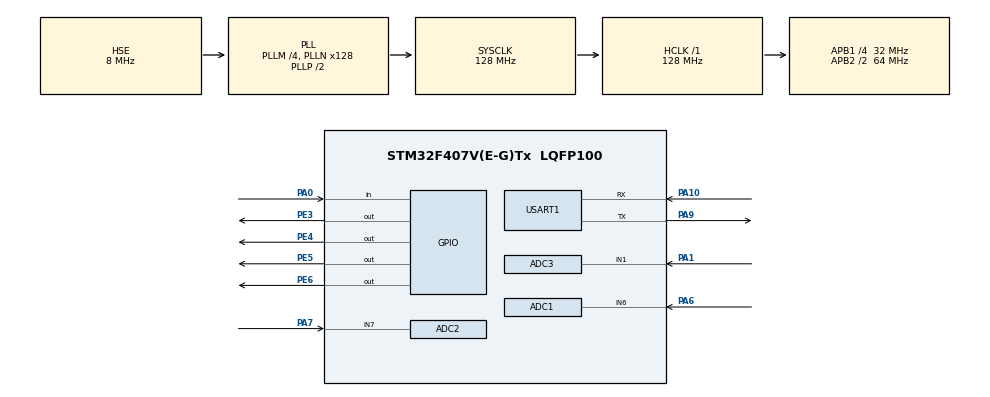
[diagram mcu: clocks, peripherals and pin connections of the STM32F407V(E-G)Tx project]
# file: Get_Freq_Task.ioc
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ADC1.Channel-9\#ChannelRegularConversion=ADC_CHANNEL_6
ADC1.ClockPrescaler=ADC_CLOCK_SYNC_PCLK_DIV4
ADC1.DMAContinuousRequests=ENABLE
ADC1.ExternalTrigConv=ADC_EXTERNALTRIGCONV_T3_TRGO
ADC1.NbrOfConversionFlag=1
ADC1.Rank-9\#ChannelRegularConversion=1
ADC1.SamplingTime-9\#ChannelRegularConversion=ADC_SAMPLETIME_3CYCLES
ADC1.master=1
ADC2.Channel-0\#ChannelRegularConversion=ADC_CHANNEL_7
ADC2.ClockPrescaler=ADC_CLOCK_SYNC_PCLK_DIV4
ADC2.DMAContinuousRequests=ENABLE
ADC2.ExternalTrigConv=ADC_EXTERNALTRIGCONV_T3_TRGO
ADC2.NbrOfConversionFlag=1
ADC2.Rank-0\#ChannelRegularConversion=1
ADC2.SamplingTime-0\#ChannelRegularConversion=ADC_SAMPLETIME_3CYCLES
ADC3.Channel-4\#ChannelRegularConversion=ADC_CHANNEL_1
ADC3.ClockPrescaler=ADC_CLOCK_SYNC_PCLK_DIV4
ADC3.DMAContinuousRequests=ENABLE
ADC3.ExternalTrigConv=ADC_EXTERNALTRIGCONV_T3_TRGO
ADC3.NbrOfConversionFlag=1
ADC3.Rank-4\#ChannelRegularConversion=1
ADC3.SamplingTime-4\#ChannelRegularConversion=ADC_SAMPLETIME_3CYCLES
Dma.ADC1.2.Direction=DMA_PERIPH_TO_MEMORY
Dma.ADC1.2.FIFOMode=DMA_FIFOMODE_DISABLE
Dma.ADC1.2.Instance=DMA2_Stream0
Dma.ADC1.2.MemDataAlignment=DMA_MDATAALIGN_HALFWORD
Dma.ADC1.2.MemInc=DMA_MINC_ENABLE
Dma.ADC1.2.Mode=DMA_NORMAL
Dma.ADC1.2.PeriphDataAlignment=DMA_PDATAALIGN_HALFWORD
Dma.ADC1.2.PeriphInc=DMA_PINC_DISABLE
Dma.ADC1.2.Priority=DMA_PRIORITY_LOW
Dma.ADC2.0.Direction=DMA_PERIPH_TO_MEMORY
Dma.ADC2.0.FIFOMode=DMA_FIFOMODE_DISABLE
Dma.ADC2.0.Instance=DMA2_Stream2
Dma.ADC2.0.MemDataAlignment=DMA_MDATAALIGN_HALFWORD
Dma.ADC2.0.MemInc=DMA_MINC_ENABLE
Dma.ADC2.0.Mode=DMA_NORMAL
Dma.ADC2.0.PeriphDataAlignment=DMA_PDATAALIGN_HALFWORD
Dma.ADC2.0.PeriphInc=DMA_PINC_DISABLE
Dma.ADC2.0.Priority=DMA_PRIORITY_LOW
Dma.ADC3.1.Direction=DMA_PERIPH_TO_MEMORY
Dma.ADC3.1.FIFOMode=DMA_FIFOMODE_DISABLE
Dma.ADC3.1.Instance=DMA2_Stream1
Dma.ADC3.1.MemDataAlignment=DMA_MDATAALIGN_HALFWORD
Dma.ADC3.1.MemInc=DMA_MINC_ENABLE
Dma.ADC3.1.Mode=DMA_NORMAL
Dma.ADC3.1.PeriphDataAlignment=DMA_PDATAALIGN_HALFWORD
Dma.ADC3.1.PeriphInc=DMA_PINC_DISABLE
Dma.ADC3.1.Priority=DMA_PRIORITY_LOW
Dma.Request0=ADC2
Dma.Request1=ADC3
Dma.Request2=ADC1
Dma.Request3=USART1_RX
Dma.USART1_RX.3.Direction=DMA_PERIPH_TO_MEMORY
Dma.USART1_RX.3.FIFOMode=DMA_FIFOMODE_DISABLE
Dma.USART1_RX.3.Instance=DMA2_Stream5
Dma.USART1_RX.3.MemDataAlignment=DMA_MDATAALIGN_BYTE
Dma.USART1_RX.3.MemInc=DMA_MINC_ENABLE
Dma.USART1_RX.3.Mode=DMA_CIRCULAR
Dma.USART1_RX.3.PeriphDataAlignment=DMA_PDATAALIGN_BYTE
Dma.USART1_RX.3.PeriphInc=DMA_PINC_DISABLE
Dma.USART1_RX.3.Priority=DMA_PRIORITY_LOW
Mcu.Family=STM32F4
Mcu.Name=STM32F407V(E-G)Tx
Mcu.Package=LQFP100
NVIC.DMA2_Stream0_IRQn=true\:0\:0\:false\:false\:true\:false\:true\:true
NVIC.DMA2_Stream1_IRQn=true\:0\:0\:false\:false\:true\:false\:true\:true
NVIC.DMA2_Stream2_IRQn=true\:0\:0\:false\:false\:true\:false\:true\:true
NVIC.DMA2_Stream5_IRQn=true\:0\:0\:false\:false\:true\:false\:true\:true
NVIC.PriorityGroup=NVIC_PRIORITYGROUP_4
NVIC.USART1_IRQn=true\:0\:0\:false\:false\:true\:true\:true\:true
PA0-WKUP.Signal=GPIO_Input
PA1.Signal=ADCx_IN1
PA10.Mode=Asynchronous
PA10.Signal=USART1_RX
PA6.Signal=ADCx_IN6
PA7.Signal=ADCx_IN7
PA9.Mode=Asynchronous
PA9.Signal=USART1_TX
PE3.GPIO_PuPd=GPIO_PULLUP
PE3.GPIO_Speed=GPIO_SPEED_FREQ_MEDIUM
PE3.Signal=GPIO_Output
PE4.GPIO_PuPd=GPIO_PULLUP
PE4.GPIO_Speed=GPIO_SPEED_FREQ_MEDIUM
PE4.Signal=GPIO_Output
PE5.GPIO_PuPd=GPIO_PULLUP
PE5.GPIO_Speed=GPIO_SPEED_FREQ_MEDIUM
PE5.Signal=GPIO_Output
PE6.GPIO_PuPd=GPIO_PULLUP
PE6.GPIO_Speed=GPIO_SPEED_FREQ_MEDIUM
PE6.Signal=GPIO_Output
PH0-OSC_IN.Mode=HSE-External-Oscillator
PH0-OSC_IN.Signal=RCC_OSC_IN
PH1-OSC_OUT.Mode=HSE-External-Oscillator
PH1-OSC_OUT.Signal=RCC_OSC_OUT
ProjectManager.HeapSize=0x200
ProjectManager.StackSize=0x400
ProjectManager.TargetToolchain=MDK-ARM V5.32
RCC.48MHZClocksFreq_Value=64000000
RCC.AHBFreq_Value=128000000
RCC.APB1CLKDivider=RCC_HCLK_DIV4
RCC.APB1Freq_Value=32000000
RCC.APB1TimFreq_Value=64000000
RCC.APB2CLKDivider=RCC_HCLK_DIV2
RCC.APB2Freq_Value=64000000
RCC.APB2TimFreq_Value=128000000
RCC.CortexFreq_Value=128000000
RCC.HCLKFreq_Value=128000000
RCC.HSE_VALUE=8000000
RCC.HSI_VALUE=16000000
RCC.LSE_VALUE=32768
RCC.PLLM=4
RCC.PLLN=128
RCC.PLLSourceVirtual=RCC_PLLSOURCE_HSE
RCC.SYSCLKFreq_VALUE=128000000
RCC.SYSCLKSource=RCC_SYSCLKSOURCE_PLLCLK
RCC.VCOOutputFreq_Value=256000000
SH.ADCx_IN1.0=ADC3_IN1,IN1
SH.ADCx_IN6.0=ADC1_IN6,IN6
SH.ADCx_IN7.0=ADC2_IN7,IN7
TIM3.Period=125-1
TIM3.Prescaler=1-1
TIM3.TIM_MasterOutputTrigger=TIM_TRGO_UPDATE
USART1.VirtualMode=VM_ASYNC
VP_TIM3_VS_ClockSourceINT.Mode=Internal
board=custom

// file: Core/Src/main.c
/* USER CODE BEGIN Header */
/**
  ******************************************************************************
  * @file           : main.c
  * @brief          : Main program body
  ******************************************************************************
  * @attention
  *
  * Copyright (c) 2025 STMicroelectronics.
  * All rights reserved.
  *
  * This software is licensed under terms that can be found in the LICENSE file
  * in the root directory of this software component.
  * If no LICENSE file comes with this software, it is provided AS-IS.
  *
  ******************************************************************************
  */
/* USER CODE END Header */
#include "main.h"
#include "adc.h"
#include "dma.h"
#include "tim.h"
#include "usart.h"
#include "gpio.h"

/* USER CODE BEGIN Includes */
#include "stdio.h"
//FFT计算所需头文件
#include "arm_math.h"
#include "arm_const_structs.h"
#include "ad9833.h"
/* USER CODE END Includes */

/* USER CODE BEGIN PTD */
#define M_PI 3.1415926
/* USER CODE END PTD */

void SystemClock_Config(void);

/* USER CODE BEGIN 0 */

#define FFT_LENGTH		512 		//FFT长度，默认是1024点FFT

uint16_t adc_buffer1[FFT_LENGTH];
uint16_t adc_buffer2[FFT_LENGTH];
uint16_t adc_buffer3[FFT_LENGTH];
float inputfft_1[FFT_LENGTH*2],inputfft_2[FFT_LENGTH*2],inputfft_3[FFT_LENGTH*2]; //傅里叶计算前的值（实部ad值，虚部为0）
float outputfft_1[FFT_LENGTH],outputfft_2[FFT_LENGTH],outputfft_3[FFT_LENGTH];    //傅里叶计算后的值
double fft_phase_out1[FFT_LENGTH],fft_phase_out2[FFT_LENGTH],fft_phase_out3[FFT_LENGTH];
float Fmax;                          //最大值
float Fmax2;                         //次最大值

//默认分离出来的最大频率信号是A信号
//ADC1采集的信号进行FFT，俩个最大幅值对应对索引计算出频率值

unsigned int Amax_pos;									//最大值位置
unsigned int Bmax_pos;								  //次最大值位置

//DDS输出信号A的反馈
unsigned int Feedbackfreq_Amax_pos;									//最大值位置
//DDS输出信号B的反馈
unsigned int Feedbackfreq_Bmax_pos;									//最大值位置
float phaA_err;

float phaseA;          // 相位 (度)
float FeedbackPhase_A; // 相位 (度)
float phaseA_err;       // 相位差 (度)
float phaseB;          // 相位 (度)
float FeedbackPhase_B; // 相位 (度)
float phaseB_err;      // 相位差 (度)
float freq_A;      // 频率 (Hz)
float Feedbackfreq_A;      // 反馈信号A频率 (Hz)
float phase_A;     // 相位 (度)
float freq_B;      // 频率 (Hz)
float Feedbackfreq_B;      // 反馈信号A频率 (Hz)
int Phase=0;

unsigned char flag=0;
uint8_t adc_dma_finish;//所有adc转换完成标志位
float CH1_Phase = 0;
float CH2_Phase = 180;	// 范围0~360

// PID控制器结构体
typedef struct {
    float Kp, Ki, Kd;     // PID参数
    float last_error;      // 上一次误差
    float prev_error;      // 上上次误差
    float max_output;      // 最大输出限制
} SimplePID;

// 相位锁定控制器
typedef struct {
    SimplePID pid;         // PID控制器
    float target_phase;    // 目标相位差(通常为0)
    float current_freq;    // 当前频率
    float min_step;        // 最小调整步长
} PhaseLocker;

// 初始化PID控制器
void PID_Init(SimplePID* pid, float Kp, float Ki, float Kd, float max_out) {
    pid->Kp = Kp;
    pid->Ki = Ki;
    pid->Kd = Kd;
    pid->last_error = 0;
    pid->prev_error = 0;
    pid->max_output = max_out;
}

// 计算PID输出
float PID_Calculate(SimplePID* pid, float error) {
    float output = pid->Kp * (error - pid->last_error)
                 + pid->Ki * error
                 + pid->Kd * (error - 2*pid->last_error + pid->prev_error);

    // 更新误差记录
    pid->prev_error = pid->last_error;
    pid->last_error = error;

    // 限制输出范围
    if(output > pid->max_output) output = pid->max_output;
    else if(output < -pid->max_output) output = -pid->max_output;

    return output;
}

// 初始化相位锁定器
void PhaseLock_Init(PhaseLocker* locker, float Kp, float Ki, float Kd,
                   float target_phase, float min_step, float max_adjust) {
    PID_Init(&locker->pid, Kp, Ki, Kd, max_adjust);
    locker->target_phase = target_phase;
    locker->min_step = min_step;
    locker->current_freq = 0;
}

// 计算标准化相位差 (-180°到180°)
float NormalizePhase(float phase)
{

    return phase;
}

// 相位锁定处理
void PhaseLock_Process(PhaseLocker* locker, float measured_phase, float current_freq,int ch,uint16_t waveform) {
    // 计算标准化相位差
    float phase_diff = NormalizePhase(measured_phase - locker->target_phase);

    // 计算频率调整量
    float adjust = PID_Calculate(&locker->pid, phase_diff);

    // 应用最小步长
    if(fabs(adjust) < locker->min_step) {
        adjust = (adjust > 0) ? locker->min_step : -locker->min_step;
    }

    // 更新频率
    locker->current_freq = current_freq + adjust;

		if(ch==AD9833_CH1)
		{
       // 设置新频率 (AD9833频率寄存器值 = 频率 * 10.73742)
       AD9833_Set_Frequency(AD9833_CH1, waveform,
                        (uint32_t)(locker->current_freq * 10.73742));
		}
		else if(ch==AD9833_CH2)
		{
		   // 设置新频率 (AD9833频率寄存器值 = 频率 * 10.73742)
      AD9833_Set_Frequency(AD9833_CH2, waveform,
      (uint32_t)(locker->current_freq * 10.73742));
		}
}
void HAL_ADC_ConvCpltCallback(ADC_HandleTypeDef *hadc)//ad转换完成
{
	  static uint8_t count = 0;

    if (hadc->Instance == ADC1) {
        count++;
    } else if (hadc->Instance == ADC2) {
        count++;
    } else if (hadc->Instance == ADC3) {
        count++;
    }
    if (count == 3) {
			  HAL_TIM_Base_Stop(&htim3);
        count = 0;
				adc_dma_finish = 1;  // 通知主循环处理数据

    }//由于要在明显的看到3个信号的区别，所以等3个ad一起转换完成后再一起计算且打印出串口
}

//实时改变采样率函数
void TIM_Config_Sampling(uint32_t signal_freq, uint16_t samples_per_cycle) {
    uint32_t f_timer = 64000000;  // 64 MHz
    uint32_t total_divider = f_timer / (samples_per_cycle * signal_freq);

    // 优先最小PSC，最大化ARR（提高精度）
    uint16_t psc = 0;  // 默认不分频
    uint32_t arr = total_divider - 1;

    // 如果ARR超过32位限制（实际不可能，因为total_divider最大=64M/1=64M，ARR=64M-1）
    if (arr > 0xFFFFFFFF) {
        // 需要增加PSC（分频）
        psc = (uint16_t)(sqrt(total_divider)) - 1;
        arr = (total_divider / (psc + 1)) - 1;
    }

    // 配置定时器
		htim3.Instance->PSC=psc;
    htim3.Instance->ARR = arr;
    HAL_TIM_Base_Start(&htim3);
}
//计算FFT结果每个分量的相位角
void compute_fft_phase(float *fft_output, uint32_t fft_size, double *phase_out) {
    for (uint32_t k = 0; k < fft_size; k++)
	  {
        float32_t real = fft_output[2*k];     // 实部（CMSIS-DSP中交替存储实/虚部）
        float32_t imag = fft_output[2*k+1];   // 虚部

        // 计算相位（弧度）
        phase_out[k] = (double)atan2f(imag, real);

        // 可选：转换为角度
         phase_out[k] *= 180.0f / M_PI;
    }
}
PhaseLocker lockerA;
PhaseLocker lockerB;
uint32_t peak1_idx;
uint32_t peak2_idx;
uint32_t length=FFT_LENGTH;

// 输入: fft_outputbuf（幅度谱数组）, length（数组长度，如4096）
// 输出: peak1_idx（第一个峰值的索引）, peak2_idx（第二个峰值的索引）
void find_peak_indices(float* magnitude, uint32_t length, uint32_t* peak1_idx, uint32_t* peak2_idx) {
    *peak1_idx = 0;
    *peak2_idx = 0;
    float peak1_val = 0;
    float peak2_val = 0;

    // 只检查前一半频点（实数信号对称性）
    for (uint32_t i = 1; i < length/2 - 1; i++) {
        // 检测局部峰值（避免噪声和直流分量）
        if (magnitude[i] > magnitude[i-1] && magnitude[i] > magnitude[i+1]) {
            if (magnitude[i] > peak1_val) {
                // 更新峰值2为旧的峰值1
                peak2_val = peak1_val;
                *peak2_idx = *peak1_idx;
                // 更新峰值1
                peak1_val = magnitude[i];
                *peak1_idx = i;
            } else if (magnitude[i] > peak2_val) {
                // 更新峰值2
                peak2_val = magnitude[i];
                *peak2_idx = i;
            }
        }
    }
}
uint16_t waveform_A;
uint16_t waveform_B;
uint8_t uartdata[50];
/* USER CODE END 0 */

int main(void)
{

  /* MCU Configuration--------------------------------------------------------*/

  /* Reset of all peripherals, Initializes the Flash interface and the Systick. */
  HAL_Init();

  /* Configure the system clock */
  SystemClock_Config();

  /* Initialize all configured peripherals */
  MX_GPIO_Init();
  MX_DMA_Init();
  MX_USART1_UART_Init();
  MX_ADC1_Init();
  MX_TIM3_Init();
  MX_ADC2_Init();
  MX_ADC3_Init();
  /* USER CODE BEGIN 2 */
	//开启定时器
	AD9833_Init();
  HAL_TIM_Base_Start(&htim3);
	//开始进行ad转换
  HAL_ADC_Start_DMA(&hadc1,(uint32_t *)adc_buffer1,FFT_LENGTH);
	HAL_ADC_Start_DMA(&hadc2,(uint32_t *)adc_buffer2,FFT_LENGTH);
	HAL_ADC_Start_DMA(&hadc3,(uint32_t *)adc_buffer3,FFT_LENGTH);

  PhaseLock_Init(&lockerA, 0.05f, 0.1f, 0.1f,  0.0f,   -0.8f,    0.8f);//如果要更改 A信号和分离出来A信号的相位偏移，可改下面初始化函数的“偏移相位”
	//             pid结构体   Kp     Ki    Kd   偏移相位 最小步进   最大调整值
	PhaseLock_Init(&lockerB, 0.05f, 0.1f, 0.1f, 0.0f, -0.8f, 0.8f);
	HAL_Delay(100);
  /* USER CODE END 2 */
  /* Infinite loop */
  /* USER CODE BEGIN WHILE */
  while (1)
  {

		if(adc_dma_finish)//判断完成标志位
		{
		  adc_dma_finish=0;//标志位清0
			for(int i=0;i<FFT_LENGTH;i++)
		  {
				inputfft_1[i*2]=(double)adc_buffer1[i]*3.3/4095;
				inputfft_1[i*2+1]=0;
				inputfft_2[i*2]=(double)adc_buffer2[i]*3.3/4095;
				inputfft_2[i*2+1]=0;
				inputfft_3[i*2]=(double)adc_buffer3[i]*3.3/4095;
				inputfft_3[i*2+1]=0;
		  }
			 //对3路adc采集的数据都进行FFT计算
			 //合成信号A+B
		 	 arm_cfft_f32(&arm_cfft_sR_f32_len512,inputfft_1,0,1);
		   arm_cmplx_mag_f32(inputfft_1,outputfft_1,FFT_LENGTH);    //把运算结果复数求模得幅值
			 //回馈信号A`
			 arm_cfft_f32(&arm_cfft_sR_f32_len512,inputfft_2,0,1);
			 arm_cmplx_mag_f32(inputfft_2,outputfft_2,FFT_LENGTH);    //把运算结果复数求模得幅值
			 //回馈信号B`
			 arm_cfft_f32(&arm_cfft_sR_f32_len512,inputfft_3,0,1);
			 arm_cmplx_mag_f32(inputfft_3,outputfft_3,FFT_LENGTH);    //把运算结果复数求模得幅值
		   outputfft_1[0]=0;//去直流，防止最大值寻找错误
			 outputfft_2[0]=0;
			 outputfft_3[0]=0;
			 find_peak_indices(outputfft_1,length,&peak1_idx,&peak2_idx);

        if(outputfft_1[peak1_idx]>110)
        {
				  waveform_A=AD9833_Out_Sinus;
				}
				else if(outputfft_1[peak1_idx]<=110)
				{
				  waveform_A=AD9833_Out_Triangle;
				}
        if(outputfft_1[peak2_idx]>110)
        {
				  waveform_B=AD9833_Out_Sinus;
				}
				else if(outputfft_1[peak2_idx]<=110)
				{
				  waveform_B=AD9833_Out_Triangle;
				}
//       arm_max_f32(outputfft_1, FFT_LENGTH/2, &Fmax, &Amax_pos);//使用Length会让频率点在后半部分，导致频率计算错误，导致ARR->0
//			 outputfft_1[Amax_pos]=0;//清除最大值
//
//			 arm_max_f32(outputfft_1, FFT_LENGTH/2, &Fmax2, &Bmax_pos); //找次最大值
//			 outputfft_1[Amax_pos]=Fmax;

			 //计算出采集到的加法信号分离出来的AB信号的频率
			 freq_A = peak1_idx*(float)(512000/FFT_LENGTH);
			 freq_B = peak2_idx*(float)(512000/FFT_LENGTH);

			 //FFT计算反馈信号A的频率
			 arm_max_f32(outputfft_2, FFT_LENGTH/2, &Fmax, &Feedbackfreq_Amax_pos);     //使用Length会让频率点在后半部分，导致频率计算错误，导致ARR->0
			 Feedbackfreq_A=Feedbackfreq_Amax_pos*(float)(512000/FFT_LENGTH);

			 arm_max_f32(outputfft_3, FFT_LENGTH/2, &Fmax, &Feedbackfreq_Bmax_pos);     //使用Length会让频率点在后半部分，导致频率计算错误，导致ARR->0
			 Feedbackfreq_B=Feedbackfreq_Bmax_pos*(float)(512000/FFT_LENGTH);
			 if(Feedbackfreq_B==freq_B &&Feedbackfreq_A==freq_A  )//判断计算频率相同进入锁相
			 {
			   flag=1;
			 }
			 else
			 {
			    //DDS输出一次AB信号，方便等下反馈计算
			    AD9833_Set_Frequency(AD9833_CH1,  waveform_A,  (uint32_t)(freq_A * 10.73742));
				  AD9833_Set_Frequency(AD9833_CH2,  waveform_B,  (uint32_t)(freq_B * 10.73742));
          HAL_Delay(5);//延时等待一下
			 }

			  HAL_ADC_Start_DMA(&hadc1, (uint32_t*)adc_buffer1, FFT_LENGTH);
				HAL_ADC_Start_DMA(&hadc2, (uint32_t*)adc_buffer2, FFT_LENGTH);
			  HAL_ADC_Start_DMA(&hadc3, (uint32_t*)adc_buffer3, FFT_LENGTH);
				HAL_TIM_Base_Start(&htim3);

			  while(flag)
			 {

				 if(adc_dma_finish)//判断标志位
				 {
						adc_dma_finish=0;//标志位清0
						for(int i=0;i<FFT_LENGTH;i++)
						{
							inputfft_1[i*2]=(double)adc_buffer1[i]*3.3/4095;
							inputfft_1[i*2+1]=0;
							inputfft_2[i*2]=(double)adc_buffer2[i]*3.3/4095;
							inputfft_2[i*2+1]=0;
							inputfft_3[i*2]=(double)adc_buffer3[i]*3.3/4095;
							inputfft_3[i*2+1]=0;
						}
				    //信号A+B
					 arm_cfft_f32(&arm_cfft_sR_f32_len512,inputfft_1,0,1);
					 arm_cmplx_mag_f32(inputfft_1,outputfft_1,FFT_LENGTH);    //把运算结果复数求模得幅值
					 //回馈信号A`
					 arm_cfft_f32(&arm_cfft_sR_f32_len512,inputfft_2,0,1);
					 arm_cmplx_mag_f32(inputfft_2,outputfft_2,FFT_LENGTH);    //把运算结果复数求模得幅值
					 //回馈信号B
					 arm_cfft_f32(&arm_cfft_sR_f32_len512,inputfft_3,0,1);
					 arm_cmplx_mag_f32(inputfft_3,outputfft_3,FFT_LENGTH);    //把运算结果复数求模得幅值

					 outputfft_1[0]=0;//去直流，防止最大值寻找错误
					 outputfft_2[0]=0;
					 outputfft_3[0]=0;
           find_peak_indices(outputfft_1,length,&peak1_idx,&peak2_idx);

						if(outputfft_1[peak1_idx]>110)
						{
							  waveform_A=AD9833_Out_Sinus;
						}
						else if(outputfft_1[peak1_idx]<=110)
						{
							  waveform_A=AD9833_Out_Triangle;
						}
						if(outputfft_1[peak2_idx]>110)
						{
							  waveform_B=AD9833_Out_Sinus;
						}
						else if(outputfft_1[peak2_idx]<=110)
						{
							  waveform_B=AD9833_Out_Triangle;
						}
//					 arm_max_f32(outputfft_1, FFT_LENGTH/2, &Fmax, &Amax_pos);     //使用Length会让频率点在后半部分，导致频率计算错误，导致ARR->0
//           outputfft_1[Amax_pos]=0;
//					 arm_max_f32(outputfft_1, FFT_LENGTH/2, &Fmax2, &Bmax_pos);

					 freq_A = peak1_idx*(float)(512000/FFT_LENGTH);
					 freq_B = peak2_idx*(float)(512000/FFT_LENGTH);

					 phaseA = atan2(inputfft_1[2*peak1_idx+1],inputfft_1[2*peak1_idx])* 180 / PI;
					 phaseB = atan2(inputfft_1[2*peak2_idx+1], inputfft_1[2*peak2_idx])* 180 / PI;

					 arm_max_f32(outputfft_2, FFT_LENGTH/2, &Fmax, &Feedbackfreq_Amax_pos);     //使用Length会让频率点在后半部分，导致频率计算错误，导致ARR->0
			     Feedbackfreq_A=Feedbackfreq_Amax_pos*(float)(512000/FFT_LENGTH);
					 FeedbackPhase_A = atan2(inputfft_2[2*Feedbackfreq_Amax_pos+1],inputfft_2[2*Feedbackfreq_Amax_pos])* 180 / PI;

					 arm_max_f32(outputfft_3, FFT_LENGTH/2, &Fmax, &Feedbackfreq_Bmax_pos);     //使用Length会让频率点在后半部分，导致频率计算错误，导致ARR->0
			     Feedbackfreq_B=Feedbackfreq_Bmax_pos*(float)(512000/FFT_LENGTH);
					 FeedbackPhase_B = atan2(inputfft_3[2*Feedbackfreq_Bmax_pos+1],inputfft_3[2*Feedbackfreq_Bmax_pos])* 180 / PI;
					 phaseA_err=FeedbackPhase_A-phaseA;
					 phaseA_err=-phaseA_err;//
					 if(phaseA_err<-180)phaseA_err+=360;
					 if(phaseA_err>180)phaseA_err-=360;

					 phaseB_err=FeedbackPhase_B-phaseB;
					 phaseB_err=-phaseB_err;//
					 if(phaseB_err<-180)phaseB_err+=360;
					 if(phaseB_err>180)phaseB_err-=360;

					 //printf("%f,%f\n",phaseB_err,0);//打印调试

           //pid锁相
					 PhaseLock_Process(&lockerA,phaseA_err, freq_A,AD9833_CH1,waveform_A);
					 PhaseLock_Process(&lockerB,phaseB_err, freq_B,AD9833_CH2,waveform_B);
					  if(Feedbackfreq_A!=freq_A || Feedbackfreq_B!=freq_B)
					 {
						 flag=0;
					 }
					 HAL_ADC_Start_DMA(&hadc1, (uint32_t*)adc_buffer1, FFT_LENGTH);
				   HAL_ADC_Start_DMA(&hadc2, (uint32_t*)adc_buffer2, FFT_LENGTH);
			     HAL_ADC_Start_DMA(&hadc3, (uint32_t*)adc_buffer3, FFT_LENGTH);
				   HAL_TIM_Base_Start(&htim3);
					 HAL_Delay(1);//1ms延时

			   }

			 }
				HAL_ADC_Start_DMA(&hadc1, (uint32_t*)adc_buffer1, FFT_LENGTH);
				HAL_ADC_Start_DMA(&hadc2, (uint32_t*)adc_buffer2, FFT_LENGTH);
				HAL_ADC_Start_DMA(&hadc3, (uint32_t*)adc_buffer3, FFT_LENGTH);
				HAL_TIM_Base_Start(&htim3);

//        }
		}

    /* USER CODE END WHILE */

  }
}

void SystemClock_Config(void)
{
  RCC_OscInitTypeDef RCC_OscInitStruct = {0};
  RCC_ClkInitTypeDef RCC_ClkInitStruct = {0};

  /** Configure the main internal regulator output voltage
  */
  __HAL_RCC_PWR_CLK_ENABLE();
  __HAL_PWR_VOLTAGESCALING_CONFIG(PWR_REGULATOR_VOLTAGE_SCALE1);

  /** Initializes the RCC Oscillators according to the specified parameters
  * in the RCC_OscInitTypeDef structure.
  */
  RCC_OscInitStruct.OscillatorType = RCC_OSCILLATORTYPE_HSE;
  RCC_OscInitStruct.HSEState = RCC_HSE_ON;
  RCC_OscInitStruct.PLL.PLLState = RCC_PLL_ON;
  RCC_OscInitStruct.PLL.PLLSource = RCC_PLLSOURCE_HSE;
  RCC_OscInitStruct.PLL.PLLM = 4;
  RCC_OscInitStruct.PLL.PLLN = 128;
  RCC_OscInitStruct.PLL.PLLP = RCC_PLLP_DIV2;
  RCC_OscInitStruct.PLL.PLLQ = 4;
  if (HAL_RCC_OscConfig(&RCC_OscInitStruct) != HAL_OK)
  {
    Error_Handler();
  }

  /** Initializes the CPU, AHB and APB buses clocks
  */
  RCC_ClkInitStruct.ClockType = RCC_CLOCKTYPE_HCLK|RCC_CLOCKTYPE_SYSCLK
                              |RCC_CLOCKTYPE_PCLK1|RCC_CLOCKTYPE_PCLK2;
  RCC_ClkInitStruct.SYSCLKSource = RCC_SYSCLKSOURCE_PLLCLK;
  RCC_ClkInitStruct.AHBCLKDivider = RCC_SYSCLK_DIV1;
  RCC_ClkInitStruct.APB1CLKDivider = RCC_HCLK_DIV4;
  RCC_ClkInitStruct.APB2CLKDivider = RCC_HCLK_DIV2;

  if (HAL_RCC_ClockConfig(&RCC_ClkInitStruct, FLASH_LATENCY_4) != HAL_OK)
  {
    Error_Handler();
  }
}

/* USER CODE BEGIN 4 */
//printf 重定向
int fputc(int ch,FILE *f)
{
  HAL_UART_Transmit(&huart1,(uint8_t *)&ch,1,10);
	return ch;
}

/* USER CODE END 4 */

void Error_Handler(void)
{
  __disable_irq();
  while (1)
  {
  }
}
